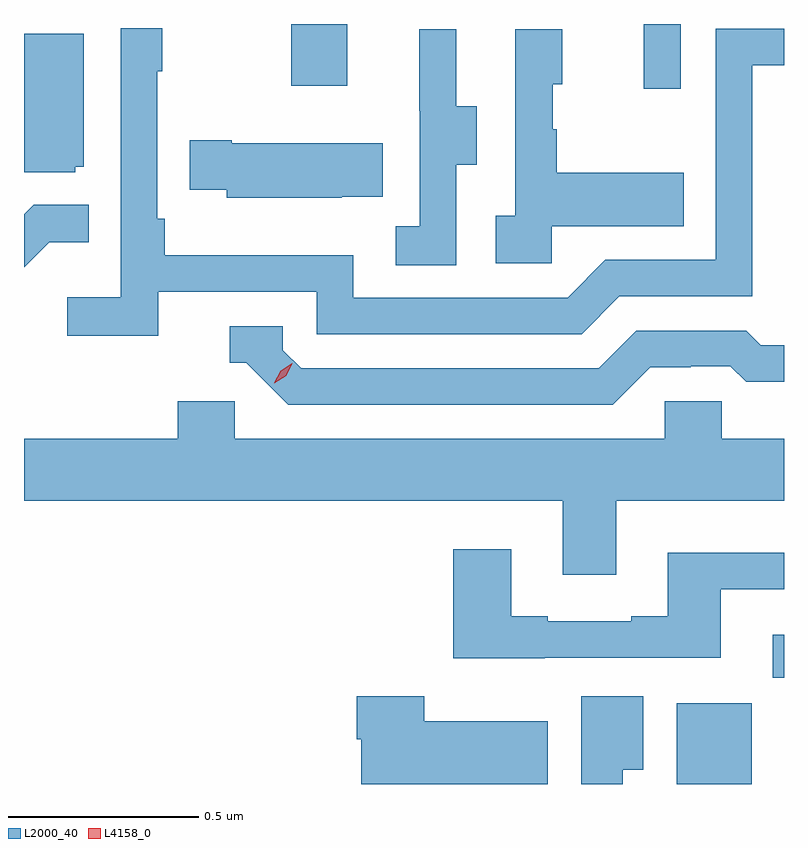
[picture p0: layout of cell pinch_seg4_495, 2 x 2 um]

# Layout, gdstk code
import gdstk
lib = gdstk.Library(unit=1e-6, precision=1e-09)
def R(c, l, rs):  # rectangles x0, y0, x1, y1
    for r in rs: c.add(gdstk.rectangle(r[:2], r[2:], *l))
def P(c, l, *ps):  # polygons
    for p in ps: c.add(gdstk.Polygon(p, *l))
L2000_40 = (2000, 40)
L4158_0 = (4158, 0)

pinch_seg4_495 = lib.new_cell('pinch_seg4_495')
R(pinch_seg4_495, L2000_40, [(951.389,761.443,951.586,761.656), (951.641,761.723,951.671,761.836), (951.302,763.272,951.399,763.443), (950.374,763.281,950.521,763.443)])
P(pinch_seg4_495, L2000_40, [(950.024,762.738),(950.442,762.738),(950.442,762.627),(951.139,762.627),(951.238,762.726),(951.588,762.726),(951.588,763.335),(951.671,763.335),(951.671,763.431),(951.492,763.431),(951.492,762.822),(951.201,762.822),(951.102,762.723),(950.538,762.723),(950.538,762.835),(950.042,762.835),(950.042,762.931),(950.022,762.931),(950.022,763.319),(950.035,763.319),(950.035,763.432),(949.926,763.432),(949.926,762.724),(949.785,762.724),(949.785,762.622),(950.024,762.622)],
  [(950.808,763.072),(950.863,763.072),(950.863,763.227),(950.809,763.227),(950.809,763.429),(950.711,763.429),(950.711,763.215),(950.712,763.215),(950.712,762.911),(950.649,762.911),(950.649,762.808),(950.808,762.808)],
  [(951.06,762.911),(951.407,762.911),(951.407,763.051),(951.073,763.051),(951.073,763.166),(951.063,763.166),(951.063,763.284),(951.088,763.284),(951.088,763.429),(950.964,763.429),(950.964,762.938),(950.913,762.938),(950.913,762.813),(951.06,762.813)],
  [(949.806,763.068),(949.828,763.068),(949.828,763.417),(949.671,763.417),(949.671,763.053),(949.806,763.053)],
  [(950.507,762.989),(950.615,762.989),(950.615,763.129),(950.218,763.129),(950.218,763.137),(950.107,763.137),(950.107,763.007),(950.205,763.007),(950.205,762.986),(950.507,762.986)],
  [(949.737,762.869),(949.841,762.869),(949.841,762.968),(949.697,762.968),(949.671,762.942),(949.671,762.803)],
  [(951.319,762.54),(951.426,762.54),(951.426,762.543),(951.529,762.543),(951.571,762.501),(951.671,762.501),(951.671,762.597),(951.61,762.597),(951.571,762.636),(951.282,762.636),(951.183,762.537),(950.4,762.537),(950.352,762.585),(950.352,762.648),(950.213,762.648),(950.213,762.552),(950.256,762.552),(950.367,762.441),(951.22,762.441)],
  [(951.671,762.352),(951.507,762.352),(951.507,762.45),(951.357,762.45),(951.357,762.352),(950.226,762.352),(950.226,762.45),(950.075,762.45),(950.075,762.352),(949.671,762.352),(949.671,762.188),(951.089,762.188),(951.089,761.994),(951.229,761.994),(951.229,762.188),(951.671,762.188)],
  [(951.041,761.775),(951.505,761.775),(951.505,761.955),(951.671,761.955),(951.671,762.052),(951.365,762.052),(951.365,761.884),(951.269,761.884),(951.269,761.871),(951.049,761.871),(951.049,761.884),(950.953,761.884),(950.953,762.061),(950.801,762.061),(950.801,761.774),(951.041,761.774)],
  [(951.247,761.48),(951.301,761.48),(951.301,761.674),(951.137,761.674),(951.137,761.443),(951.247,761.443)],
  [(951.049,761.608),(950.724,761.608),(950.724,761.674),(950.546,761.674),(950.546,761.561),(950.558,761.561),(950.558,761.443),(951.049,761.443)])
P(pinch_seg4_495, L4158_0, [(950.329,762.498),(950.329,762.499),(950.346,762.531),(950.377,762.55),(950.377,762.55),(950.377,762.55),(950.361,762.517),(950.33,762.498)])

lib.write_gds('pinch_seg4_495.gds')
